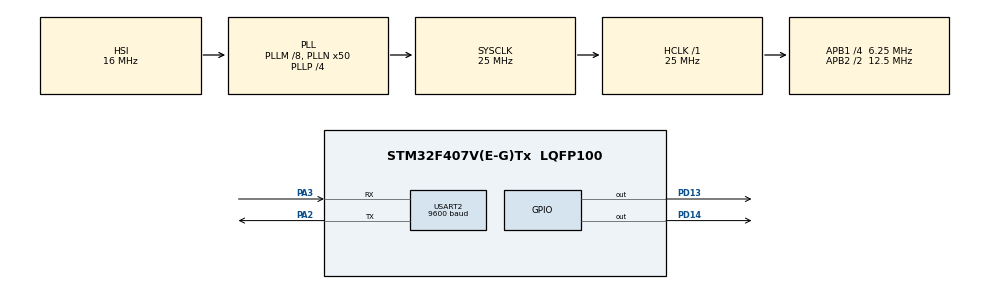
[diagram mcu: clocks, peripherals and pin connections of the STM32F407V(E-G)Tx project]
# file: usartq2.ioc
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Mcu.Family=STM32F4
Mcu.Name=STM32F407V(E-G)Tx
Mcu.Package=LQFP100
NVIC.PriorityGroup=NVIC_PRIORITYGROUP_0
PA2.Mode=Asynchronous
PA2.Signal=USART2_TX
PA3.Mode=Asynchronous
PA3.Signal=USART2_RX
PD13.GPIO_PuPd=GPIO_NOPULL
PD13.GPIO_Speed=GPIO_SPEED_FREQ_LOW
PD13.Signal=GPIO_Output
PD14.Signal=GPIO_Output
ProjectManager.HeapSize=0x200
ProjectManager.StackSize=0x400
ProjectManager.TargetToolchain=STM32CubeIDE
RCC.48MHZClocksFreq_Value=14285714.285714285
RCC.AHBFreq_Value=25000000
RCC.APB1CLKDivider=RCC_HCLK_DIV4
RCC.APB1Freq_Value=6250000
RCC.APB1TimFreq_Value=12500000
RCC.APB2CLKDivider=RCC_HCLK_DIV2
RCC.APB2Freq_Value=12500000
RCC.APB2TimFreq_Value=25000000
RCC.CortexFreq_Value=25000000
RCC.HCLKFreq_Value=25000000
RCC.HSE_VALUE=8000000
RCC.HSI_VALUE=16000000
RCC.LSE_VALUE=32768
RCC.PLLM=8
RCC.PLLN=50
RCC.PLLP=RCC_PLLP_DIV4
RCC.PLLQ=7
RCC.SYSCLKFreq_VALUE=25000000
RCC.SYSCLKSource=RCC_SYSCLKSOURCE_PLLCLK
RCC.VCOOutputFreq_Value=100000000
USART2.BaudRate=9600
USART2.VirtualMode=VM_ASYNC
board=STM32F407G-DISC1

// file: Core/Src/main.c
/* USER CODE BEGIN Header */
/**
  ******************************************************************************
  * @file           : main.c
  * @brief          : Main program body
  ******************************************************************************
  * @attention
  *
  * Copyright (c) 2025 STMicroelectronics.
  * All rights reserved.
  *
  * This software is licensed under terms that can be found in the LICENSE file
  * in the root directory of this software component.
  * If no LICENSE file comes with this software, it is provided AS-IS.
  *
  ******************************************************************************
  */
/* USER CODE END Header */
#include "main.h"
#include<string.h>
#include<stdio.h>

/* USER CODE BEGIN Includes */
#define MAX_LEN 100
uint8_t rx_byte;
char rx_buffer[MAX_LEN];
uint16_t rx_index =0;
#define Orange_LED 13
#define Red_LED 14

/* USER CODE END Includes */

UART_HandleTypeDef huart2;

void SystemClock_Config(void);
static void MX_GPIO_Init(void);
static void MX_USART2_UART_Init(void);

int main(void)
{

  /* MCU Configuration--------------------------------------------------------*/

  /* Reset of all peripherals, Initializes the Flash interface and the Systick. */
  HAL_Init();

  /* Configure the system clock */
  SystemClock_Config();

  /* Initialize all configured peripherals */
  MX_GPIO_Init();
  MX_USART2_UART_Init();

  /* Infinite loop */
  while (1)
  {
	  HAL_UART_Receive(&huart2, &rx_byte, 1, HAL_MAX_DELAY);
	  HAL_UART_Transmit(&huart2, &rx_byte, 1, HAL_MAX_DELAY);
 if(rx_byte == '\r')
 {
	  {
		  rx_buffer[rx_index] ='\0';
	  }

    /* USER CODE BEGIN 3 */
	  if(strcmp(rx_buffer,"Red_LED")==0)
	  {
		  HAL_GPIO_TogglePin(GPIOD, GPIO_PIN_14);
	  }
	  else if(strcmp(rx_buffer, "Orange_LED")==0)
	  {
		  HAL_GPIO_TogglePin(GPIOD, GPIO_PIN_13);
	  }
	  else
	  {
		  printf("invalid command");
	  }
	  char msg3[]="\r\n";
	  HAL_UART_Transmit(&huart2, (uint8_t*)msg3, strlen(msg3), HAL_MAX_DELAY);

	  rx_index = 0;
  }
  else
  {
	  if (rx_index < MAX_LEN-1)
	  {
		  rx_buffer[rx_index++]= rx_byte;
	  }
  }

  /* USER CODE END 3 */
}

void SystemClock_Config(void)
{
  RCC_OscInitTypeDef RCC_OscInitStruct = {0};
  RCC_ClkInitTypeDef RCC_ClkInitStruct = {0};

  /** Configure the main internal regulator output voltage
  */
  __HAL_RCC_PWR_CLK_ENABLE();
  __HAL_PWR_VOLTAGESCALING_CONFIG(PWR_REGULATOR_VOLTAGE_SCALE1);

  /** Initializes the RCC Oscillators according to the specified parameters
  * in the RCC_OscInitTypeDef structure.
  */
  RCC_OscInitStruct.OscillatorType = RCC_OSCILLATORTYPE_HSI;
  RCC_OscInitStruct.HSIState = RCC_HSI_ON;
  RCC_OscInitStruct.HSICalibrationValue = RCC_HSICALIBRATION_DEFAULT;
  RCC_OscInitStruct.PLL.PLLState = RCC_PLL_ON;
  RCC_OscInitStruct.PLL.PLLSource = RCC_PLLSOURCE_HSI;
  RCC_OscInitStruct.PLL.PLLM = 8;
  RCC_OscInitStruct.PLL.PLLN = 50;
  RCC_OscInitStruct.PLL.PLLP = RCC_PLLP_DIV4;
  RCC_OscInitStruct.PLL.PLLQ = 7;
  if (HAL_RCC_OscConfig(&RCC_OscInitStruct) != HAL_OK)
  {
    Error_Handler();
  }

  /** Initializes the CPU, AHB and APB buses clocks
  */
  RCC_ClkInitStruct.ClockType = RCC_CLOCKTYPE_HCLK|RCC_CLOCKTYPE_SYSCLK
                              |RCC_CLOCKTYPE_PCLK1|RCC_CLOCKTYPE_PCLK2;
  RCC_ClkInitStruct.SYSCLKSource = RCC_SYSCLKSOURCE_PLLCLK;
  RCC_ClkInitStruct.AHBCLKDivider = RCC_SYSCLK_DIV1;
  RCC_ClkInitStruct.APB1CLKDivider = RCC_HCLK_DIV4;
  RCC_ClkInitStruct.APB2CLKDivider = RCC_HCLK_DIV2;

  if (HAL_RCC_ClockConfig(&RCC_ClkInitStruct, FLASH_LATENCY_0) != HAL_OK)
  {
    Error_Handler();
  }
}

static void MX_USART2_UART_Init(void)
{

  huart2.Instance = USART2;
  huart2.Init.BaudRate = 9600;
  huart2.Init.WordLength = UART_WORDLENGTH_8B;
  huart2.Init.StopBits = UART_STOPBITS_1;
  huart2.Init.Parity = UART_PARITY_NONE;
  huart2.Init.Mode = UART_MODE_TX_RX;
  huart2.Init.HwFlowCtl = UART_HWCONTROL_NONE;
  huart2.Init.OverSampling = UART_OVERSAMPLING_16;
  if (HAL_UART_Init(&huart2) != HAL_OK)
  {
    Error_Handler();
  }

}

static void MX_GPIO_Init(void)
{
  GPIO_InitTypeDef GPIO_InitStruct = {0};

  /* GPIO Ports Clock Enable */
  __HAL_RCC_GPIOA_CLK_ENABLE();
  __HAL_RCC_GPIOD_CLK_ENABLE();

  /*Configure GPIO pin Output Level */
  HAL_GPIO_WritePin(GPIOD, GPIO_PIN_13|GPIO_PIN_14, GPIO_PIN_RESET);

  /*Configure GPIO pins : PD13 PD14 */
  GPIO_InitStruct.Pin = GPIO_PIN_13|GPIO_PIN_14;
  GPIO_InitStruct.Mode = GPIO_MODE_OUTPUT_PP;
  GPIO_InitStruct.Pull = GPIO_NOPULL;
  GPIO_InitStruct.Speed = GPIO_SPEED_FREQ_LOW;
  HAL_GPIO_Init(GPIOD, &GPIO_InitStruct);

}

void Error_Handler(void)
{
  __disable_irq();
  while (1)
  {
  }
}
